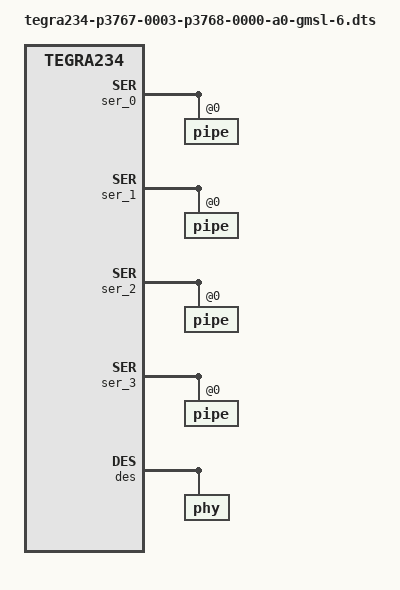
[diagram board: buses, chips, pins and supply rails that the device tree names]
// SPDX-License-Identifier: GPL-2.0
/*
 * Copyright (C) 2023 Analog Devices Inc.
 */

/dts-v1/;

#define GMSL

#define GMSL_TEGRA_PORT                 1

#define GMSL_DES_PHY                    1
#define GMSL_DES_PHY_NUM_LANES          2
#define GMSL_DES_LANE_RATE              2500000000
#define GMSL_DES_PHY_1_2_LANE_MODE_IN_4_LANES

#define GMSL_CAMERA_NUM			4
#define GMSL_DES_MAX96724
#define GMSL_SER_0_MAX96717
#define GMSL_SER_1_MAX96717
#define GMSL_SER_2_MAX96717
#define GMSL_SER_3_MAX96717
#define GMSL_CAM_0_TEGRA_IMX219
#define GMSL_CAM_1_TEGRA_IMX219
#define GMSL_CAM_2_TEGRA_IMX219
#define GMSL_CAM_3_TEGRA_IMX219

#include "tegra234-p3767-0003-p3768-0000-a0-gmsl.dtsi"

/* Undefined after including GMSL dts. */
#define GMSL_DES_PHY                    1

&ser_0 {
        pipe@0 {
                maxim,dbl8;
                maxim,soft-bpp = <10>;
                maxim,bpp = <16>;
        };

        channel@1 {
                reg = <1>;

                maxim,embedded-data;

                ports {
                        #address-cells = <1>;
                        #size-cells = <0>;

                        port@0 {
                                reg = <0>;

                                ser_out_0_emb: endpoint {
                                        remote-endpoint = <&des_in_0_emb>;
                                };
                        };
                };
        };
};

&ser_1 {
        pipe@0 {
                maxim,dbl8;
                maxim,soft-bpp = <10>;
                maxim,bpp = <16>;
        };

        channel@1 {
                reg = <1>;

                maxim,embedded-data;

                ports {
                        #address-cells = <1>;
                        #size-cells = <0>;

                        port@0 {
                                reg = <0>;

                                ser_out_1_emb: endpoint {
                                        remote-endpoint = <&des_in_1_emb>;
                                };
                        };
                };
        };
};

&ser_2 {
        pipe@0 {
                maxim,dbl8;
                maxim,soft-bpp = <10>;
                maxim,bpp = <16>;
        };

        channel@1 {
                reg = <1>;

                maxim,embedded-data;

                ports {
                        #address-cells = <1>;
                        #size-cells = <0>;

                        port@0 {
                                reg = <0>;

                                ser_out_2_emb: endpoint {
                                        remote-endpoint = <&des_in_2_emb>;
                                };
                        };
                };
        };
};

&ser_3 {
        pipe@0 {
                maxim,dbl8;
                maxim,soft-bpp = <10>;
                maxim,bpp = <16>;
        };

        channel@1 {
                reg = <1>;

                maxim,embedded-data;

                ports {
                        #address-cells = <1>;
                        #size-cells = <0>;

                        port@0 {
                                reg = <0>;

                                ser_out_3_emb: endpoint {
                                        remote-endpoint = <&des_in_3_emb>;
                                };
                        };
                };
        };
};

&des {
        phy@GMSL_DES_PHY {
                maxim,alt2-mem-map8;
        };

        channel@4 {
                reg = <4>;

                maxim,phy-id = <GMSL_DES_PHY>;
                maxim,embedded-data;

                ports {
                        #address-cells = <1>;
                        #size-cells = <0>;

                        port@1 {
                                reg = <1>;

                                des_in_0_emb: endpoint {
                                        remote-endpoint = <&ser_out_0_emb>;
                                };
                        };
                };
        };

        channel@5 {
                reg = <5>;

                maxim,phy-id = <GMSL_DES_PHY>;
                maxim,embedded-data;

                ports {
                        #address-cells = <1>;
                        #size-cells = <0>;

                        port@1 {
                                reg = <1>;

                                des_in_1_emb: endpoint {
                                        remote-endpoint = <&ser_out_1_emb>;
                                };
                        };
                };
        };

        channel@6 {
                reg = <6>;

                maxim,phy-id = <GMSL_DES_PHY>;
                maxim,embedded-data;

                ports {
                        #address-cells = <1>;
                        #size-cells = <0>;

                        port@1 {
                                reg = <1>;

                                des_in_2_emb: endpoint {
                                        remote-endpoint = <&ser_out_2_emb>;
                                };
                        };
                };
        };

        channel@7 {
                reg = <7>;

                maxim,phy-id = <GMSL_DES_PHY>;
                maxim,embedded-data;

                ports {
                        #address-cells = <1>;
                        #size-cells = <0>;

                        port@1 {
                                reg = <1>;

                                des_in_3_emb: endpoint {
                                        remote-endpoint = <&ser_out_3_emb>;
                                };
                        };
                };
        };
};
